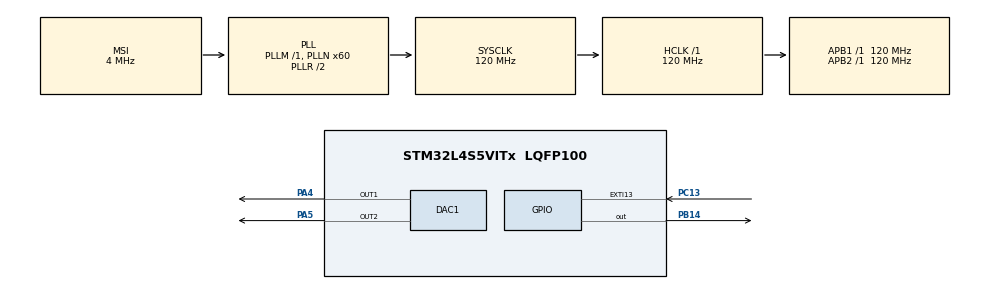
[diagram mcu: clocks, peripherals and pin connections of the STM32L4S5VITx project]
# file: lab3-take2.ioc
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DAC1.DAC_Channel-DAC_OUT2=DAC_CHANNEL_2
DAC1.DAC_Trigger-DAC_OUT1=DAC_TRIGGER_T2_TRGO
Dma.DAC1_CH1.0.Direction=DMA_MEMORY_TO_PERIPH
Dma.DAC1_CH1.0.EventEnable=DISABLE
Dma.DAC1_CH1.0.Instance=DMA1_Channel3
Dma.DAC1_CH1.0.MemDataAlignment=DMA_MDATAALIGN_WORD
Dma.DAC1_CH1.0.MemInc=DMA_MINC_ENABLE
Dma.DAC1_CH1.0.Mode=DMA_CIRCULAR
Dma.DAC1_CH1.0.PeriphDataAlignment=DMA_PDATAALIGN_HALFWORD
Dma.DAC1_CH1.0.PeriphInc=DMA_PINC_DISABLE
Dma.DAC1_CH1.0.Polarity=HAL_DMAMUX_REQUEST_GEN_RISING
Dma.DAC1_CH1.0.Priority=DMA_PRIORITY_LOW
Dma.DAC1_CH1.0.RequestNumber=1
Dma.DAC1_CH1.0.SignalID=NONE
Dma.DAC1_CH1.0.SyncEnable=DISABLE
Dma.DAC1_CH1.0.SyncPolarity=HAL_DMAMUX_SYNC_NO_EVENT
Dma.DAC1_CH1.0.SyncRequestNumber=1
Dma.DAC1_CH1.0.SyncSignalID=NONE
Dma.Request0=DAC1_CH1
Mcu.Family=STM32L4
Mcu.Name=STM32L4S5VITx
Mcu.Package=LQFP100
NVIC.DMA1_Channel3_IRQn=true\:0\:0\:false\:false\:true\:false\:true\:true
NVIC.EXTI15_10_IRQn=true\:0\:0\:false\:false\:true\:true\:true\:true
NVIC.PriorityGroup=NVIC_PRIORITYGROUP_4
NVIC.TIM2_IRQn=true\:0\:0\:false\:false\:true\:true\:true\:true
PA4.Signal=COMP_DAC11_group
PA5.Signal=COMP_DAC12_group
PB14.Signal=GPIO_Output
PC13.Signal=GPXTI13
ProjectManager.HeapSize=0x200
ProjectManager.StackSize=0x400
ProjectManager.TargetToolchain=STM32CubeIDE
RCC.ADCFreq_Value=48000000
RCC.AHBFreq_Value=120000000
RCC.APB1Freq_Value=120000000
RCC.APB1TimFreq_Value=120000000
RCC.APB2Freq_Value=120000000
RCC.APB2TimFreq_Value=120000000
RCC.CortexFreq_Value=120000000
RCC.HCLKFreq_Value=120000000
RCC.HSE_VALUE=8000000
RCC.HSI48_VALUE=48000000
RCC.HSI_VALUE=16000000
RCC.LSE_VALUE=32768
RCC.MSI_VALUE=4000000
RCC.PLLN=60
RCC.PLLSAI1N=24
RCC.SYSCLKFreq_VALUE=120000000
RCC.SYSCLKSource=RCC_SYSCLKSOURCE_PLLCLK
RCC.USBFreq_Value=48000000
RCC.VCOOutputFreq_Value=240000000
SH.COMP_DAC11_group.0=DAC1_OUT1,DAC_OUT1
SH.COMP_DAC12_group.0=DAC1_OUT2,DAC_OUT2
TIM2.Period=2721
TIM2.TIM_MasterOutputTrigger=TIM_TRGO_UPDATE
VP_TIM2_VS_ClockSourceINT.Mode=Internal
board=B-L4S5I-IOT01A

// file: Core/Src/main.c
/* USER CODE BEGIN Header */
/**
  ******************************************************************************
  * @file           : main.c
  * @brief          : Main program body
  ******************************************************************************
  * @attention
  *
  * Copyright (c) 2024 STMicroelectronics.
  * All rights reserved.
  *
  * This software is licensed under terms that can be found in the LICENSE file
  * in the root directory of this software component.
  * If no LICENSE file comes with this software, it is provided AS-IS.
  *
  ******************************************************************************
  */
/* USER CODE END Header */
#include "main.h"

/* USER CODE BEGIN Includes */
#include "arm_math.h"
/* USER CODE END Includes */

DAC_HandleTypeDef hdac1;
DMA_HandleTypeDef hdma_dac1_ch1;

TIM_HandleTypeDef htim2;

void SystemClock_Config(void);
static void MX_GPIO_Init(void);
static void MX_DMA_Init(void);
static void MX_DAC1_Init(void);
static void MX_TIM2_Init(void);

/* USER CODE BEGIN 0 */
#define SINE_TABLE_SIZE 700//100 for timer implementation  -- Mulitplying by 2 drops pitch by one octave
#define SINE_TABLE_SIZE2 800
#define SINE_TABLE_SIZE3 900
#define DAC_MAX_VALUE 180
float32_t sine_table[SINE_TABLE_SIZE];
float32_t sine_table2[SINE_TABLE_SIZE2];
float32_t sine_table3[SINE_TABLE_SIZE3];

void GenerateSineTable(void) {
	float32_t val=0;
    for (int i = 0; i < SINE_TABLE_SIZE; i++) {
    	val=(arm_sin_f32(2.0f * 3.141592653 * i / SINE_TABLE_SIZE) + 1.0f) * (DAC_MAX_VALUE / 2.0f);
        sine_table[i] = val;
    }
    val=0;
    for (int i = 0; i < SINE_TABLE_SIZE2; i++) {
		val=(arm_sin_f32(2.0f * 3.141592653 * i / SINE_TABLE_SIZE) + 1.0f) * (DAC_MAX_VALUE / 2.0f);
		sine_table2[i] = val;
	}
    val=0;
	for (int i = 0; i < SINE_TABLE_SIZE3; i++) {
		val=(arm_sin_f32(2.0f * 3.141592653 * i / SINE_TABLE_SIZE) + 1.0f) * (DAC_MAX_VALUE / 2.0f);
		sine_table2[i] = val;
	}
}

int32_t status = 0;

void HAL_GPIO_EXTI_Callback(uint16_t GPIO_Pin){
	if(GPIO_Pin == GPIO_PIN_13 && status == 0){
		HAL_DAC_Stop_DMA(&hdac1, DAC_CHANNEL_1);
		HAL_DAC_Start_DMA(&hdac1, DAC_CHANNEL_1, (uint32_t*)sine_table2, SINE_TABLE_SIZE2, DAC_ALIGN_8B_R);
		HAL_GPIO_WritePin(GPIOB, GPIO_PIN_14, GPIO_PIN_SET);
	}else if (GPIO_Pin == GPIO_PIN_13 && status == 1){
		HAL_DAC_Stop_DMA(&hdac1, DAC_CHANNEL_1);
		HAL_DAC_Start_DMA(&hdac1, DAC_CHANNEL_1, (uint32_t*)sine_table3, SINE_TABLE_SIZE3, DAC_ALIGN_8B_R);
		HAL_GPIO_WritePin(GPIOB, GPIO_PIN_14, GPIO_PIN_RESET);
	}else if(GPIO_Pin == GPIO_PIN_13 && status == 2){
		HAL_DAC_Stop_DMA(&hdac1, DAC_CHANNEL_1);
		HAL_DAC_Start_DMA(&hdac1, DAC_CHANNEL_1, (uint32_t*)sine_table, SINE_TABLE_SIZE, DAC_ALIGN_8B_R);
		HAL_GPIO_WritePin(GPIOB, GPIO_PIN_14, GPIO_PIN_SET);
	}
	status=(status+1)%3;
}

/*volatile uint32_t sample_index = 0;
volatile uint32_t sine_val =0;
void HAL_TIM_PeriodElapsedCallback(TIM_HandleTypeDef *htim2) {
    if (htim2->Instance == TIM2) {
    	sine_val = (uint32_t)sine_table[sample_index];
        HAL_DAC_SetValue(&hdac1, DAC_CHANNEL_1, DAC_ALIGN_8B_R, sine_val);
        sample_index = (sample_index + 1) % SINE_TABLE_SIZE;  // Loop back after one cycle
    }
}*/

/* USER CODE END 0 */

int main(void)
{

  /* MCU Configuration--------------------------------------------------------*/

  /* Reset of all peripherals, Initializes the Flash interface and the Systick. */
  HAL_Init();

  /* Configure the system clock */
  SystemClock_Config();

  /* Initialize all configured peripherals */
  MX_GPIO_Init();
  MX_DMA_Init();
  MX_DAC1_Init();
  MX_TIM2_Init();
  /* USER CODE BEGIN 2 */
  float32_t phase = 0.0f;
  int32_t saw = 0;
  int32_t sine = 0;
  int32_t triangle = 0;
  int32_t step = 10;

  GenerateSineTable();
  HAL_DAC_Start(&hdac1, DAC_CHANNEL_1);
  HAL_DAC_Start(&hdac1, DAC_CHANNEL_2);
  HAL_TIM_Base_Start_IT(&htim2);
  HAL_DAC_Start_DMA(&hdac1, DAC_CHANNEL_1, (uint32_t*)sine_table, SINE_TABLE_SIZE, DAC_ALIGN_8B_R);
  /* USER CODE END 2 */

  /* Infinite loop */
  while (1)
  {

    /* USER CODE BEGIN 3 */
	/*float32_t sine_float = 100.0f * (arm_sin_f32(phase)+1.0f);//amplitude of a 100 to prevent clipping
	sine = (int32_t) sine_float;

	HAL_DAC_SetValue(&hdac1, DAC_CHANNEL_1, DAC_ALIGN_8B_R, sine);

	phase += 2 * 3.14159265f * 0.064;

	if(phase >= 2 * 3.14159265f){
		phase -= 2 * 3.14159265f;
	}

	saw += 10;

	//max of 200 to prevent clipping
	if (saw >= 200) // Reset when max is reached (8-bit max)
	{
		saw = 0;
	}

	HAL_DAC_SetValue(&hdac1, DAC_CHANNEL_2, DAC_ALIGN_8B_R, saw);
	triangle +=step;

	if(triangle >=200){//max of 200 to prevent clipping
		step =-10;
		triangle =200;
	}else if(triangle<=0){
		step=10;
		triangle=0;
	}
	HAL_Delay(15);*/
  }
  /* USER CODE END 3 */
}

void SystemClock_Config(void)
{
  RCC_OscInitTypeDef RCC_OscInitStruct = {0};
  RCC_ClkInitTypeDef RCC_ClkInitStruct = {0};

  /** Configure the main internal regulator output voltage
  */
  if (HAL_PWREx_ControlVoltageScaling(PWR_REGULATOR_VOLTAGE_SCALE1_BOOST) != HAL_OK)
  {
    Error_Handler();
  }

  /** Initializes the RCC Oscillators according to the specified parameters
  * in the RCC_OscInitTypeDef structure.
  */
  RCC_OscInitStruct.OscillatorType = RCC_OSCILLATORTYPE_MSI;
  RCC_OscInitStruct.MSIState = RCC_MSI_ON;
  RCC_OscInitStruct.MSICalibrationValue = 0;
  RCC_OscInitStruct.MSIClockRange = RCC_MSIRANGE_6;
  RCC_OscInitStruct.PLL.PLLState = RCC_PLL_ON;
  RCC_OscInitStruct.PLL.PLLSource = RCC_PLLSOURCE_MSI;
  RCC_OscInitStruct.PLL.PLLM = 1;
  RCC_OscInitStruct.PLL.PLLN = 60;
  RCC_OscInitStruct.PLL.PLLP = RCC_PLLP_DIV2;
  RCC_OscInitStruct.PLL.PLLQ = RCC_PLLQ_DIV2;
  RCC_OscInitStruct.PLL.PLLR = RCC_PLLR_DIV2;
  if (HAL_RCC_OscConfig(&RCC_OscInitStruct) != HAL_OK)
  {
    Error_Handler();
  }

  /** Initializes the CPU, AHB and APB buses clocks
  */
  RCC_ClkInitStruct.ClockType = RCC_CLOCKTYPE_HCLK|RCC_CLOCKTYPE_SYSCLK
                              |RCC_CLOCKTYPE_PCLK1|RCC_CLOCKTYPE_PCLK2;
  RCC_ClkInitStruct.SYSCLKSource = RCC_SYSCLKSOURCE_PLLCLK;
  RCC_ClkInitStruct.AHBCLKDivider = RCC_SYSCLK_DIV1;
  RCC_ClkInitStruct.APB1CLKDivider = RCC_HCLK_DIV1;
  RCC_ClkInitStruct.APB2CLKDivider = RCC_HCLK_DIV1;

  if (HAL_RCC_ClockConfig(&RCC_ClkInitStruct, FLASH_LATENCY_5) != HAL_OK)
  {
    Error_Handler();
  }
}

static void MX_DAC1_Init(void)
{

  DAC_ChannelConfTypeDef sConfig = {0};

  /** DAC Initialization
  */
  hdac1.Instance = DAC1;
  if (HAL_DAC_Init(&hdac1) != HAL_OK)
  {
    Error_Handler();
  }

  /** DAC channel OUT1 config
  */
  sConfig.DAC_SampleAndHold = DAC_SAMPLEANDHOLD_DISABLE;
  sConfig.DAC_Trigger = DAC_TRIGGER_T2_TRGO;
  sConfig.DAC_HighFrequency = DAC_HIGH_FREQUENCY_INTERFACE_MODE_ABOVE_80MHZ;
  sConfig.DAC_OutputBuffer = DAC_OUTPUTBUFFER_ENABLE;
  sConfig.DAC_ConnectOnChipPeripheral = DAC_CHIPCONNECT_DISABLE;
  sConfig.DAC_UserTrimming = DAC_TRIMMING_FACTORY;
  if (HAL_DAC_ConfigChannel(&hdac1, &sConfig, DAC_CHANNEL_1) != HAL_OK)
  {
    Error_Handler();
  }

  /** DAC channel OUT2 config
  */
  sConfig.DAC_Trigger = DAC_TRIGGER_NONE;
  if (HAL_DAC_ConfigChannel(&hdac1, &sConfig, DAC_CHANNEL_2) != HAL_OK)
  {
    Error_Handler();
  }

}

static void MX_TIM2_Init(void)
{

  TIM_ClockConfigTypeDef sClockSourceConfig = {0};
  TIM_MasterConfigTypeDef sMasterConfig = {0};

  htim2.Instance = TIM2;
  htim2.Init.Prescaler = 0;
  htim2.Init.CounterMode = TIM_COUNTERMODE_UP;
  htim2.Init.Period = 100;
  htim2.Init.ClockDivision = TIM_CLOCKDIVISION_DIV1;
  htim2.Init.AutoReloadPreload = TIM_AUTORELOAD_PRELOAD_DISABLE;
  if (HAL_TIM_Base_Init(&htim2) != HAL_OK)
  {
    Error_Handler();
  }
  sClockSourceConfig.ClockSource = TIM_CLOCKSOURCE_INTERNAL;
  if (HAL_TIM_ConfigClockSource(&htim2, &sClockSourceConfig) != HAL_OK)
  {
    Error_Handler();
  }
  sMasterConfig.MasterOutputTrigger = TIM_TRGO_UPDATE;
  sMasterConfig.MasterSlaveMode = TIM_MASTERSLAVEMODE_DISABLE;
  if (HAL_TIMEx_MasterConfigSynchronization(&htim2, &sMasterConfig) != HAL_OK)
  {
    Error_Handler();
  }

}

static void MX_DMA_Init(void)
{

  /* DMA controller clock enable */
  __HAL_RCC_DMAMUX1_CLK_ENABLE();
  __HAL_RCC_DMA1_CLK_ENABLE();

  /* DMA interrupt init */
  /* DMA1_Channel3_IRQn interrupt configuration */
  HAL_NVIC_SetPriority(DMA1_Channel3_IRQn, 0, 0);
  HAL_NVIC_EnableIRQ(DMA1_Channel3_IRQn);

}

static void MX_GPIO_Init(void)
{
  GPIO_InitTypeDef GPIO_InitStruct = {0};

  /* GPIO Ports Clock Enable */
  __HAL_RCC_GPIOC_CLK_ENABLE();
  __HAL_RCC_GPIOA_CLK_ENABLE();
  __HAL_RCC_GPIOB_CLK_ENABLE();

  /*Configure GPIO pin Output Level */
  HAL_GPIO_WritePin(GPIOB, GPIO_PIN_14, GPIO_PIN_RESET);

  /*Configure GPIO pin : PC13 */
  GPIO_InitStruct.Pin = GPIO_PIN_13;
  GPIO_InitStruct.Mode = GPIO_MODE_IT_RISING;
  GPIO_InitStruct.Pull = GPIO_NOPULL;
  HAL_GPIO_Init(GPIOC, &GPIO_InitStruct);

  /*Configure GPIO pin : PB14 */
  GPIO_InitStruct.Pin = GPIO_PIN_14;
  GPIO_InitStruct.Mode = GPIO_MODE_OUTPUT_PP;
  GPIO_InitStruct.Pull = GPIO_NOPULL;
  GPIO_InitStruct.Speed = GPIO_SPEED_FREQ_LOW;
  HAL_GPIO_Init(GPIOB, &GPIO_InitStruct);

  /* EXTI interrupt init*/
  HAL_NVIC_SetPriority(EXTI15_10_IRQn, 0, 0);
  HAL_NVIC_EnableIRQ(EXTI15_10_IRQn);

}

void Error_Handler(void)
{
  __disable_irq();
  while (1)
  {
  }
}
